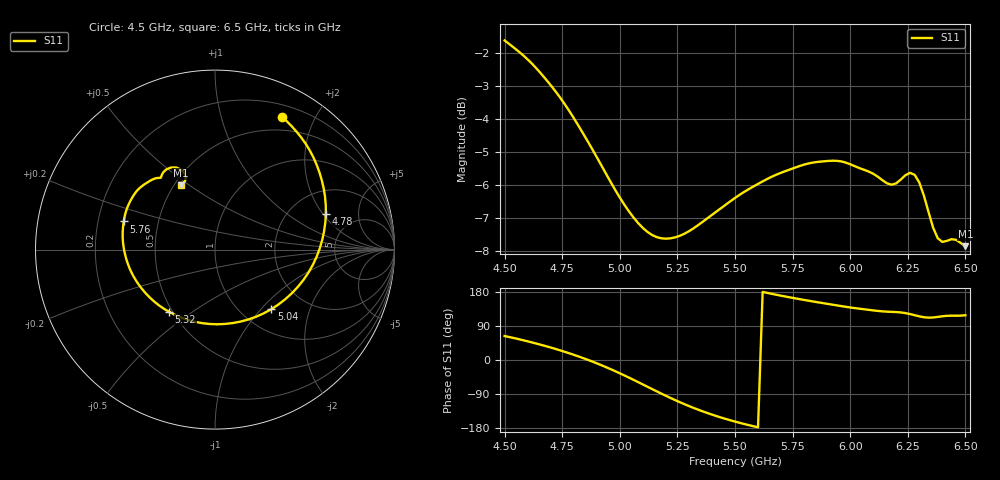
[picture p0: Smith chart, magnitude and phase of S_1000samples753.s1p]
! TOUCHSTONE file generated by CST MICROWAVE STUDIO
! Date and time: Sat Oct 29 06:37:03 2022
! Project name: L.cst
! Parameters = {Di=1.27; Epsilon_r=1.56; InnerDiameter=1.27; Length=2; Lf=10; Lg=60; OuterConductorThickness=0.2921; OuterDiameter=3.6; Wf=3; Wp=41.2; de=1.5; df=6.8; g=0.8; gx=4.17594; gy=1.03849; h=2.34; hf=1.524; px=14.3845; py=9.36612; w=9.7; wx=10.2086; wy=8.32763}
! Header version: 2018
! Port assignment regex: !\s*Touchstone port\s*([0-9]+)\s*=\s*(CST MWS port|CST DS port)\s*([0-9]+|Zmin|Zmax)\s*\(\"(.*)\"\)(\s*mode\s*([0-9]+))?.*
! Touchstone port assignment:
! Touchstone port 1 = CST MWS port 1 ("")
# GHz S DB R 50
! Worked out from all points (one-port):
!   101 points, 4.5 GHz to 6.5 GHz, reference 50 ohm
!   lowest |S11| = -7.9 dB at 6.5 GHz (marker M1), VSWR 2.36, Z = 27.1 + j23.1 ohm
!   |S11| at or under -10 dB: nowhere
!   S11 on the Smith chart (normalised r, x): 4.5 GHz: 0.33, +1.57; 4.78 GHz: 3.12, +2.14; 5.04 GHz: 1.36, -1.14; 5.32 GHz: 0.48, -0.41; 5.76 GHz: 0.31, +0.14; 6.5 GHz: 0.54, +0.46
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4.5  -1.63 63.2
4.58  -2.08 52.3
4.64  -2.49 43.0
4.7  -2.98 32.9
4.76  -3.55 21.8
4.78  -3.76 17.8
4.88  -4.91 -3.9
4.94  -5.66 -18.9
5  -6.38 -35.1
5.04  -6.80 -46.6
5.08  -7.16 -58.5
5.14  -7.51 -76.6
5.2  -7.63 -94.4
5.26  -7.54 -111.2
5.32  -7.31 -126.3
5.4  -6.91 -144.1
5.5  -6.40 -162.5
5.62  -5.89 179.7
5.76  -5.48 162.9
5.88  -5.29 150.2
6  -5.38 138.6
6.1  -5.66 130.9
6.18  -5.99 127.0
6.26  -5.63 121.2
6.3  -5.93 115.2
6.34  -6.82 111.8
6.4  -7.73 115.5
6.5  -7.85 118.1
